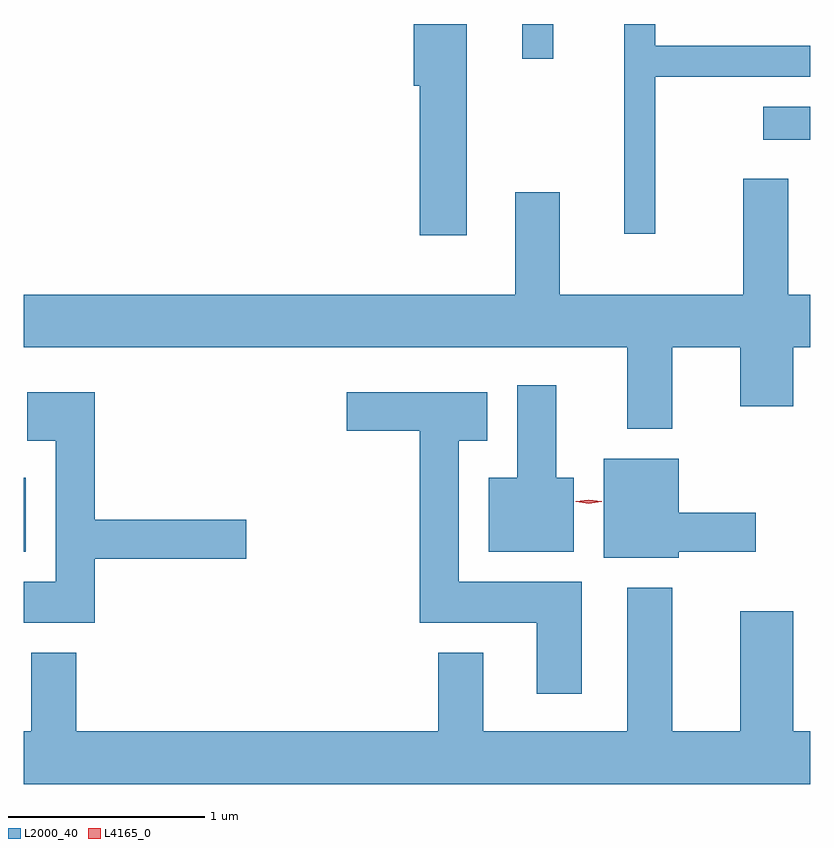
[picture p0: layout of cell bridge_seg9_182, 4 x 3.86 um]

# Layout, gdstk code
import gdstk
lib = gdstk.Library(unit=1e-6, precision=1e-09)
def R(c, l, rs):  # rectangles x0, y0, x1, y1
    for r in rs: c.add(gdstk.rectangle(r[:2], r[2:], *l))
def P(c, l, *ps):  # polygons
    for p in ps: c.add(gdstk.Polygon(p, *l))
L2000_40 = (2000, 40)
L4165_0 = (4165, 0)

bridge_seg9_182 = lib.new_cell('bridge_seg9_182')
R(bridge_seg9_182, L2000_40, [(1190.452,2048.496,1190.464,2048.874), (1194.213,2050.591,1194.452,2050.759), (1192.986,2051.003,1193.144,2051.18)])
P(bridge_seg9_182, L2000_40, [(1192.704,2051.18),(1192.436,2051.18),(1192.436,2050.866),(1192.466,2050.866),(1192.466,2050.106),(1192.704,2050.106)],
  [(1193.664,2050.911),(1194.452,2050.911),(1194.452,2051.069),(1193.664,2051.069),(1193.664,2051.18),(1193.506,2051.18),(1193.506,2050.113),(1193.664,2050.113)],
  [(1193.749,2049.536),(1194.096,2049.536),(1194.096,2049.236),(1194.364,2049.236),(1194.364,2049.536),(1194.452,2049.536),(1194.452,2049.804),(1194.339,2049.804),(1194.339,2050.394),(1194.111,2050.394),(1194.111,2049.804),(1193.179,2049.804),(1193.179,2050.324),(1192.951,2050.324),(1192.951,2049.804),(1190.452,2049.804),(1190.452,2049.536),(1193.521,2049.536),(1193.521,2049.121),(1193.749,2049.121)],
  [(1193.249,2048.874),(1193.159,2048.874),(1193.159,2049.344),(1192.961,2049.344),(1192.961,2048.874),(1192.816,2048.874),(1192.816,2048.496),(1193.249,2048.496)],
  [(1190.814,2048.461),(1191.584,2048.461),(1191.584,2048.659),(1190.814,2048.659),(1190.814,2049.309),(1190.471,2049.309),(1190.471,2049.061),(1190.616,2049.061),(1190.616,2048.344),(1190.452,2048.344),(1190.452,2048.136),(1190.814,2048.136)],
  [(1193.289,2048.344),(1192.664,2048.344),(1192.664,2049.061),(1192.809,2049.061),(1192.809,2049.309),(1192.096,2049.309),(1192.096,2049.111),(1192.466,2049.111),(1192.466,2048.136),(1193.061,2048.136),(1193.061,2047.776),(1193.289,2047.776)],
  [(1193.784,2048.496),(1194.174,2048.496),(1194.174,2048.694),(1193.784,2048.694),(1193.784,2048.969),(1193.401,2048.969),(1193.401,2048.466),(1193.784,2048.466)],
  [(1194.452,2047.584),(1194.364,2047.584),(1194.364,2048.194),(1194.096,2048.194),(1194.096,2047.584),(1193.749,2047.584),(1193.749,2048.314),(1193.521,2048.314),(1193.521,2047.584),(1192.789,2047.584),(1192.789,2047.984),(1192.561,2047.984),(1192.561,2047.584),(1190.719,2047.584),(1190.719,2047.984),(1190.491,2047.984),(1190.491,2047.584),(1190.452,2047.584),(1190.452,2047.316),(1194.452,2047.316)])
P(bridge_seg9_182, L4165_0, [(1193.326,2048.742),(1193.26,2048.752),(1193.259,2048.752),(1193.26,2048.753),(1193.326,2048.762),(1193.392,2048.753),(1193.392,2048.752),(1193.392,2048.752)])

lib.write_gds('bridge_seg9_182.gds')
